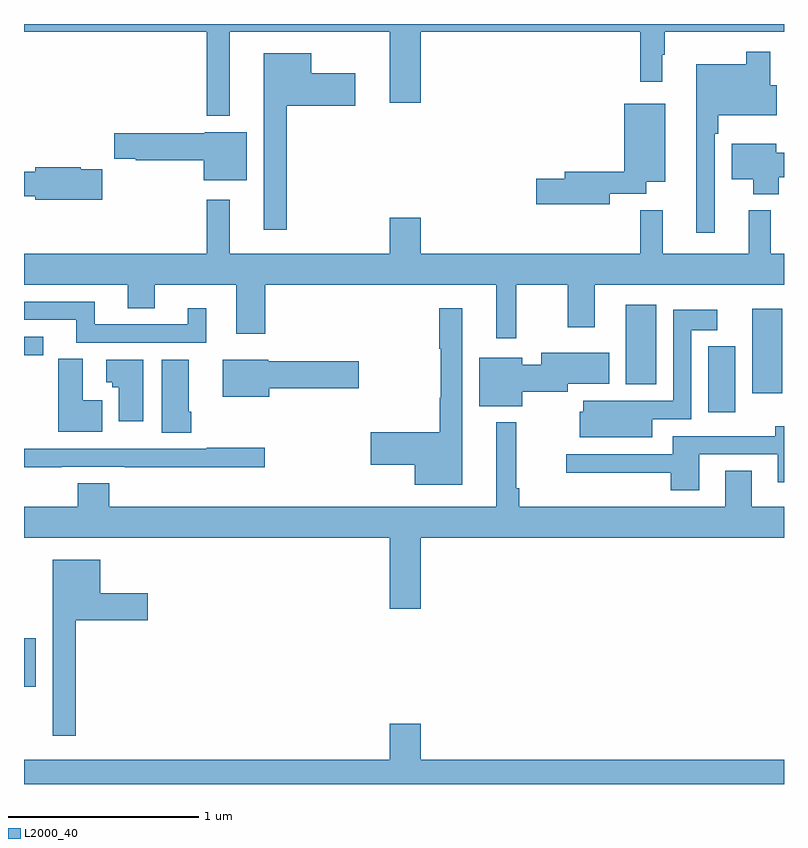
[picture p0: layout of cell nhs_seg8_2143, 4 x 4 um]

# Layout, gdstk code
import gdstk
lib = gdstk.Library(unit=1e-6, precision=1e-09)
def R(c, l, rs):  # rectangles x0, y0, x1, y1
    for r in rs: c.add(gdstk.rectangle(r[:2], r[2:], *l))
def P(c, l, *ps):  # polygons
    for p in ps: c.add(gdstk.Polygon(p, *l))
L2000_40 = (2000, 40)

nhs_seg8_2143 = lib.new_cell('nhs_seg8_2143')
R(nhs_seg8_2143, L2000_40, [(247,1086.413,247.063,1086.667), (250.601,1087.857,250.744,1088.203), (250.832,1087.956,250.99,1088.401), (250.166,1088.003,250.327,1088.422), (247,1088.157,247.102,1088.253)])
P(nhs_seg8_2143, L2000_40, [(248.083,1089.86),(248.924,1089.86),(248.924,1089.486),(249.088,1089.486),(249.088,1089.86),(250.243,1089.86),(250.243,1089.597),(250.36,1089.597),(250.36,1089.737),(250.372,1089.737),(250.372,1089.86),(251,1089.86),(251,1089.9),(247,1089.9),(247,1089.86),(247.962,1089.86),(247.962,1089.416),(248.083,1089.416)],
  [(250.635,1089.323),(250.655,1089.323),(250.655,1089.419),(250.963,1089.419),(250.963,1089.577),(250.928,1089.577),(250.928,1089.754),(250.8,1089.754),(250.8,1089.688),(250.538,1089.688),(250.538,1088.802),(250.635,1088.802)],
  [(248.383,1089.47),(248.743,1089.47),(248.743,1089.64),(248.512,1089.64),(248.512,1089.745),(248.261,1089.745),(248.261,1088.817),(248.383,1088.817)],
  [(250.084,1089.006),(250.276,1089.006),(250.276,1089.071),(250.375,1089.071),(250.375,1089.481),(250.16,1089.481),(250.16,1089.122),(249.845,1089.122),(249.845,1089.086),(249.696,1089.086),(249.696,1088.951),(250.084,1088.951)],
  [(248.173,1089.331),(247.95,1089.331),(247.95,1089.326),(247.476,1089.326),(247.476,1089.19),(247.588,1089.19),(247.588,1089.184),(247.946,1089.184),(247.946,1089.077),(248.173,1089.077)],
  [(250.973,1089.094),(251,1089.094),(251,1089.223),(250.96,1089.223),(250.96,1089.271),(250.724,1089.271),(250.724,1089.083),(250.838,1089.083),(250.838,1089.005),(250.973,1089.005)],
  [(247.411,1089.136),(247.298,1089.136),(247.298,1089.146),(247.058,1089.146),(247.058,1089.122),(247,1089.122),(247,1088.994),(247.058,1088.994),(247.058,1088.975),(247.411,1088.975)],
  [(249.592,1088.528),(249.863,1088.528),(249.863,1088.304),(250.003,1088.304),(250.003,1088.528),(251,1088.528),(251,1088.692),(250.931,1088.692),(250.931,1088.92),(250.814,1088.92),(250.814,1088.692),(250.361,1088.692),(250.361,1088.921),(250.243,1088.921),(250.243,1088.692),(249.088,1088.692),(249.088,1088.881),(248.924,1088.881),(248.924,1088.692),(248.083,1088.692),(248.083,1088.974),(247.962,1088.974),(247.962,1088.692),(247,1088.692),(247,1088.528),(247.547,1088.528),(247.547,1088.404),(247.687,1088.404),(247.687,1088.528),(248.117,1088.528),(248.117,1088.271),(248.27,1088.271),(248.27,1088.528),(249.485,1088.528),(249.485,1088.247),(249.592,1088.247)],
  [(247.96,1088.404),(247.862,1088.404),(247.862,1088.319),(247.372,1088.319),(247.372,1088.439),(247,1088.439),(247,1088.343),(247.274,1088.343),(247.274,1088.223),(247.96,1088.223)],
  [(249.307,1088.404),(249.186,1088.404),(249.186,1088.191),(249.193,1088.191),(249.193,1087.934),(249.188,1087.934),(249.188,1087.751),(248.826,1087.751),(248.826,1087.58),(249.056,1087.58),(249.056,1087.475),(249.307,1087.475)],
  [(250.306,1087.821),(250.512,1087.821),(250.512,1088.288),(250.648,1088.288),(250.648,1088.395),(250.416,1088.395),(250.416,1087.917),(250.17,1087.917),(250.17,1087.918),(249.944,1087.918),(249.944,1087.86),(249.926,1087.86),(249.926,1087.724),(250.306,1087.724)],
  [(249.622,1087.964),(249.862,1087.964),(249.862,1088.006),(250.081,1088.006),(250.081,1088.17),(249.722,1088.17),(249.722,1088.106),(249.622,1088.106),(249.622,1088.143),(249.395,1088.143),(249.395,1087.889),(249.622,1087.889)],
  [(247.411,1087.92),(247.309,1087.92),(247.309,1088.137),(247.181,1088.137),(247.181,1087.754),(247.411,1087.754)],
  [(247.627,1088.134),(247.433,1088.134),(247.433,1088.015),(247.464,1088.015),(247.464,1087.987),(247.499,1087.987),(247.499,1087.809),(247.627,1087.809)],
  [(248.29,1087.982),(248.761,1087.982),(248.761,1088.124),(248.286,1088.124),(248.286,1088.134),(248.045,1088.134),(248.045,1087.937),(248.29,1087.937)],
  [(247.88,1087.858),(247.867,1087.858),(247.867,1088.134),(247.724,1088.134),(247.724,1087.75),(247.88,1087.75)],
  [(249.088,1087.196),(251,1087.196),(251,1087.36),(250.831,1087.36),(250.831,1087.55),(250.691,1087.55),(250.691,1087.36),(249.607,1087.36),(249.607,1087.456),(249.592,1087.456),(249.592,1087.804),(249.485,1087.804),(249.485,1087.36),(247.448,1087.36),(247.448,1087.484),(247.283,1087.484),(247.283,1087.36),(247,1087.36),(247,1087.196),(248.924,1087.196),(248.924,1086.822),(249.088,1086.822)],
  [(250.555,1087.635),(250.967,1087.635),(250.967,1087.488),(251,1087.488),(251,1087.783),(250.955,1087.783),(250.955,1087.731),(250.415,1087.731),(250.415,1087.635),(249.855,1087.635),(249.855,1087.538),(250.403,1087.538),(250.403,1087.446),(250.555,1087.446)],
  [(247.199,1087.569),(247.531,1087.569),(247.531,1087.568),(248.266,1087.568),(248.266,1087.67),(247.963,1087.67),(247.963,1087.665),(247,1087.665),(247,1087.568),(247.199,1087.568)],
  [(247.273,1086.761),(247.651,1086.761),(247.651,1086.903),(247.402,1086.903),(247.402,1087.081),(247.151,1087.081),(247.151,1086.153),(247.273,1086.153)],
  [(251,1086.028),(249.088,1086.028),(249.088,1086.217),(248.924,1086.217),(248.924,1086.028),(247,1086.028),(247,1085.9),(251,1085.9)])

lib.write_gds('nhs_seg8_2143.gds')
